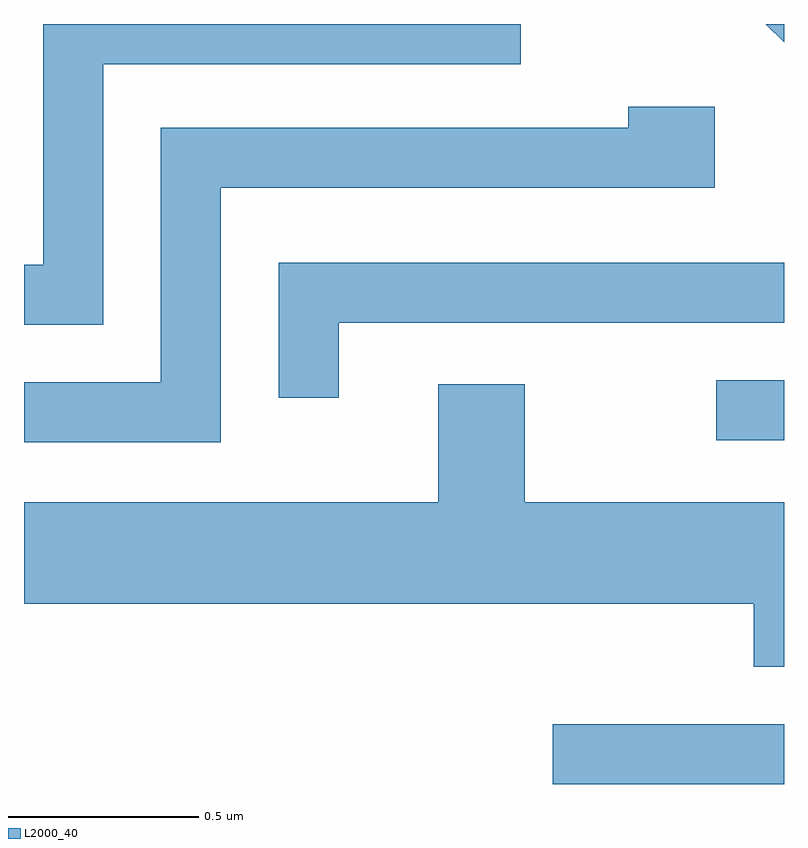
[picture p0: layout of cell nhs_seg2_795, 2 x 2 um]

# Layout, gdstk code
import gdstk
lib = gdstk.Library(unit=1e-6, precision=1e-09)
def R(c, l, rs):  # rectangles x0, y0, x1, y1
    for r in rs: c.add(gdstk.rectangle(r[:2], r[2:], *l))
def P(c, l, *ps):  # polygons
    for p in ps: c.add(gdstk.Polygon(p, *l))
L2000_40 = (2000, 40)

nhs_seg2_795 = lib.new_cell('nhs_seg2_795')
R(nhs_seg2_795, L2000_40, [(192.003,1087.802,192.611,1087.959), (192.433,1088.706,192.611,1088.864)])
P(nhs_seg2_795, L2000_40, [(192.611,1089.802),(192.563,1089.802),(192.611,1089.754)],
  [(190.819,1089.696),(191.918,1089.696),(191.918,1089.802),(190.661,1089.802),(190.661,1089.169),(190.611,1089.169),(190.611,1089.011),(190.819,1089.011)],
  [(191.129,1089.371),(192.429,1089.371),(192.429,1089.584),(192.201,1089.584),(192.201,1089.529),(190.971,1089.529),(190.971,1088.859),(190.611,1088.859),(190.611,1088.701),(191.129,1088.701)],
  [(191.439,1089.016),(192.611,1089.016),(192.611,1089.174),(191.281,1089.174),(191.281,1088.818),(191.439,1088.818)],
  [(192.611,1088.544),(191.929,1088.544),(191.929,1088.854),(191.701,1088.854),(191.701,1088.544),(190.611,1088.544),(190.611,1088.276),(192.531,1088.276),(192.531,1088.111),(192.611,1088.111)])

lib.write_gds('nhs_seg2_795.gds')
